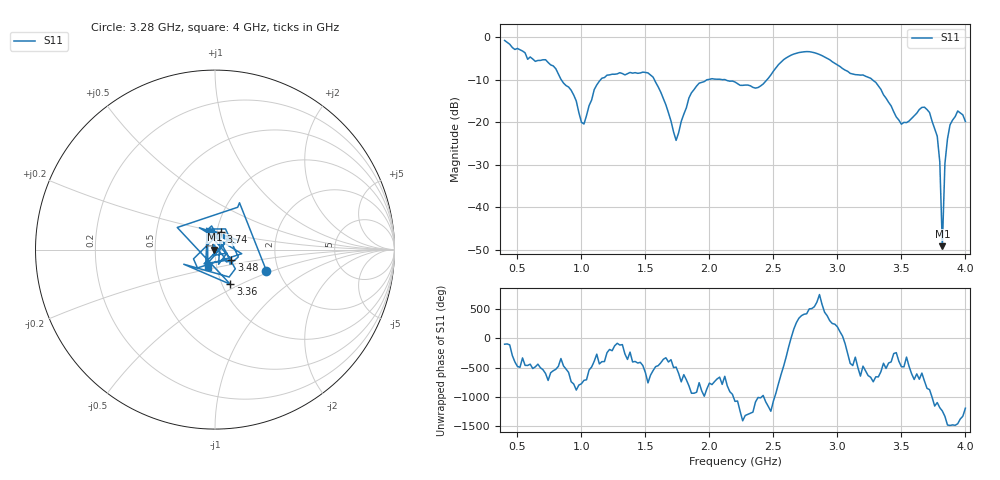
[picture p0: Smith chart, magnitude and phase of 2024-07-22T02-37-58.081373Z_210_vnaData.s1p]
!Created with skrf (http://scikit-rf.org).
# Hz S RI R 50.0
!freq ReS11 ImS11
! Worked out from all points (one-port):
!   181 points, 400 MHz to 4 GHz, reference 50 ohm
!   lowest |S11| = -49.1 dB at 3.82 GHz (marker M1), VSWR 1.01, Z = 49.7 - j0.116 ohm
!   |S11| at or under -10 dB: 1.57 GHz to 1.98 GHz (409.7 MHz wide, 23.1 % of centre); 2.124 GHz to 2.45 GHz (325.7 MHz wide, 14.2 % of centre); 3.273 GHz to end of sweep (the widest 3 of 4)
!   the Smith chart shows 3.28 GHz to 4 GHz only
!   S11 on the Smith chart (normalised r, x): 3.28 GHz: 1.73, -0.45; 3.36 GHz: 1.09, -0.44; 3.48 GHz: 1.19, -0.13; 3.74 GHz: 1.04, +0.21; 4 GHz: 0.91, -0.17
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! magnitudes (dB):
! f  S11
! 400 MHz  -0.8
! 720 MHz  -5.3
! 860 MHz  -10.8
! 1.02 GHz  -20.4
! 1.14 GHz  -10.3
! 1.3 GHz  -8.3
! 1.56 GHz  -9.4
! 1.74 GHz  -24.2
! 1.76 GHz  -22.4
! 1.84 GHz  -14.3
! 1.92 GHz  -10.8
! 2.2 GHz  -10.5
! 2.38 GHz  -11.8
! 2.66 GHz  -4.0
! 3.1 GHz  -8.5
! 3.28 GHz  -10.2
! 3.36 GHz  -13.5
! 3.48 GHz  -19.5
! 3.56 GHz  -19.7
! 3.68 GHz  -16.4
! 3.74 GHz  -19.8
! 3.78 GHz  -23.2
! 3.8 GHz  -29.3
! 3.82 GHz  -49.1
! 3.84 GHz  -29.7
! 3.88 GHz  -20.6
! 3.94 GHz  -17.3
! 4 GHz  -19.8
